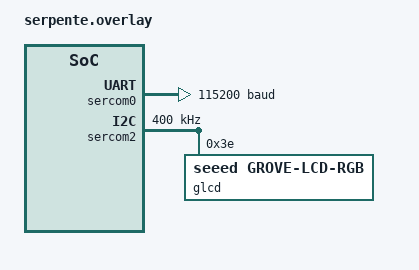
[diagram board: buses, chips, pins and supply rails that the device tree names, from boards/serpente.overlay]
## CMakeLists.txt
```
# SPDX-License-Identifier: Apache-2.0

cmake_minimum_required(VERSION 3.20.0)
find_package(Zephyr REQUIRED HINTS $ENV{ZEPHYR_BASE})
project(grove_display)

FILE(GLOB app_sources src/*.c)
target_sources(app PRIVATE ${app_sources})
```

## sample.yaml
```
sample:
  name: Grove LCD Sample
tests:
  sample.drivers.misc.grove_display:
    tags:
      - drivers
      - display
    harness: grove
    depends_on: i2c
    filter: dt_compat_enabled("seeed,grove-lcd-rgb")
```

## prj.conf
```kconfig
CONFIG_STDOUT_CONSOLE=y
CONFIG_PRINTK=y

CONFIG_I2C=y

CONFIG_GROVE_LCD_RGB=y
```

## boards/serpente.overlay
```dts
/*
 * Copyright (c) 2020 Alexander Falb <fal3xx@gmail.com>
 *
 * SPDX-License-Identifier: Apache-2.0
 */

/ {
	chosen {
		zephyr,console = &sercom0;
		zephyr,shell-uart = &sercom0;
	};
};

&sercom0 {
	compatible = "atmel,sam0-uart";
	current-speed = <115200>;
	rxpo = <1>;
	txpo = <0>;

	pinctrl-0 = <&sercom0_uart_default>;
	pinctrl-names = "default";
};

&sercom2 {
	compatible = "atmel,sam0-i2c";
	clock-frequency = <I2C_BITRATE_FAST>;
	#address-cells = <1>;
	#size-cells = <0>;
	/delete-property/ current-speed;
	/delete-property/ rxpo;
	/delete-property/ txpo;

	glcd: glcd@3e {
		compatible = "seeed,grove-lcd-rgb";
		reg = <0x3e>;
	};
};
```

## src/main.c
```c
/*
 * Copyright (c) 2015 Intel Corporation
 *
 * SPDX-License-Identifier: Apache-2.0
 */

#include <zephyr/kernel.h>

#include <zephyr/sys/printk.h>

#include <zephyr/device.h>
#include <zephyr/drivers/i2c.h>

#include <zephyr/drivers/misc/grove_lcd/grove_lcd.h>

/**
 * @file Display a counter through I2C and Grove LCD.
 */

/* sleep time in msec */
#define SLEEPTIME  100

uint8_t clamp_rgb(int val)
{
	if (val > 255) {
		return 255;
	} else if (val < 0) {
		return 0;
	} else {
		return val;
	}
}

int main(void)
{
	const struct device *const glcd = DEVICE_DT_GET(DT_NODELABEL(glcd));
	char str[20];
	int rgb[] = { 0x0, 0x0, 0x0 };
	uint8_t rgb_chg[3];
	const uint8_t rgb_step = 16U;
	uint8_t set_config;
	int i, j, m;
	int cnt;

	if (!device_is_ready(glcd)) {
		printk("Grove LCD: Device not ready.\n");
		return 0;
	}

	/* Now configure the LCD the way we want it */

	set_config = GLCD_FS_ROWS_2
		     | GLCD_FS_DOT_SIZE_LITTLE
		     | GLCD_FS_8BIT_MODE;

	glcd_function_set(glcd, set_config);

	set_config = GLCD_DS_DISPLAY_ON | GLCD_DS_CURSOR_ON | GLCD_DS_BLINK_ON;

	glcd_display_state_set(glcd, set_config);

	/* Setup variables /*/
	for (i = 0; i < sizeof(str); i++) {
		str[i] = '\0';
	}

	/* Starting counting */
	cnt = 0;

	while (1) {
		glcd_cursor_pos_set(glcd, 0, 0);

		/* RGB values are from 0 - 511.
		 * First half means incrementally brighter.
		 * Second half is opposite (i.e. goes darker).
		 */

		/* Update the RGB values for backlight */
		m = (rgb[2] > 255) ? (512 - rgb[2]) : (rgb[2]);
		rgb_chg[2] = clamp_rgb(m);

		m = (rgb[1] > 255) ? (512 - rgb[1]) : (rgb[1]);
		rgb_chg[1] = clamp_rgb(m);

		m = (rgb[0] > 255) ? (512 - rgb[0]) : (rgb[0]);
		rgb_chg[0] = clamp_rgb(m);

		glcd_color_set(glcd, rgb_chg[0], rgb_chg[1], rgb_chg[2]);

		/* Display the counter
		 *
		 * well... sprintf() might be easier,
		 * but this is more fun.
		 */
		m = cnt;
		i = 1000000000;
		j = 0;
		while (i > 0) {
			str[j] = '0' + (m / i);

			m = m % i;
			i = i / 10;
			j++;
		}
		cnt++;

		glcd_print(glcd, str, j);

		/* Rotate RGB values */
		rgb[2] += rgb_step;
		if (rgb[2] > 511) {
			rgb[2] = 0;
			rgb[1] += rgb_step;
		}
		if (rgb[1] > 511) {
			rgb[1] = 0;
			rgb[0] += rgb_step;
		}
		if (rgb[0] > 511) {
			rgb[0] = 0;
		}

		/* wait a while */
		k_msleep(SLEEPTIME);
	}
	return 0;
}
```
